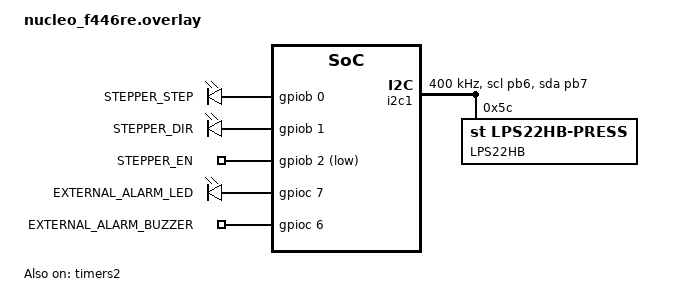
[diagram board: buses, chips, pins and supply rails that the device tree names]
/*
 * nucleo_f446re.overlay
 * NUCLEO-F446RE device tree overlay
 *
 * Stepper wiring (TMC2209):
 * PB0 → STEP
 * PB1 → DIR
 * PB2 → EN  (active-low)
 *
 * Quadrature encoder:
 * TIM2 CH1 → PA0
 * TIM2 CH2 → PA1
 *
 * LPS22HB pressure sensor (I²C1):
 * PB6 → SCL
 * PB7 → SDA
 * I²C address: 0x5C (SA0=GND) or 0x5D (SA0=VDD)
 *
 * Dedicated Hardware Alarm Outputs:
 * PC7 → External Separate LED Alarm Light
 * PC6 → External Active Buzzer Alert
 */

&i2c1 {
    status = "okay";
    clock-frequency = <I2C_BITRATE_FAST>;
    pinctrl-0 = <&i2c1_scl_pb6 &i2c1_sda_pb7>;
    pinctrl-names = "default";
    lps22hb@5c {
        compatible = "st,lps22hb-press";
        reg = <0x5c>;
        label = "LPS22HB";
        status = "okay";
    };
};

/ {
    stepper_gpios {
        compatible = "gpio-leds";
        step_pin: step_pin {
            gpios = <&gpiob 0 GPIO_ACTIVE_HIGH>;
            label = "STEPPER_STEP";
        };
        dir_pin: dir_pin {
            gpios = <&gpiob 1 GPIO_ACTIVE_HIGH>;
            label = "STEPPER_DIR";
        };
        en_pin: en_pin {
            gpios = <&gpiob 2 GPIO_ACTIVE_LOW>;
            label = "STEPPER_EN";
        };
    };

    alarm_outputs {
        compatible = "gpio-leds";
        alarm_led: alarm_led {
            gpios = <&gpioc 7 GPIO_ACTIVE_HIGH>;
            label = "EXTERNAL_ALARM_LED";
        };
        alarm_buzzer: alarm_buzzer {
            gpios = <&gpioc 6 GPIO_ACTIVE_HIGH>;
            label = "EXTERNAL_ALARM_BUZZER";
        };
    };
};

&timers2 {
    status = "okay";
    st,prescaler = <0>;
    qdec {
        status = "okay";
        pinctrl-0 = <&tim2_ch1_pa0 &tim2_ch2_pa1>;
        pinctrl-names = "default";
        st,counts-per-revolution = <2400>; /* Added required encoder resolution parameter */
    };
};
